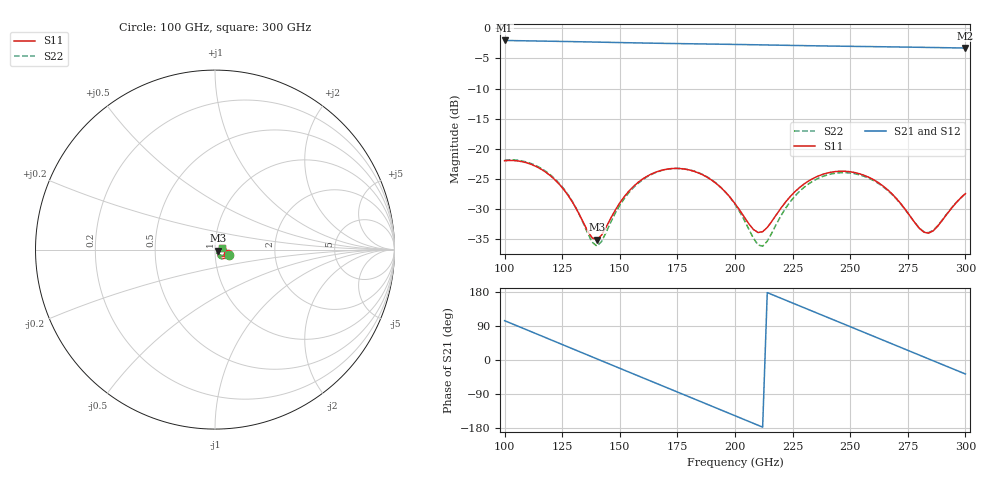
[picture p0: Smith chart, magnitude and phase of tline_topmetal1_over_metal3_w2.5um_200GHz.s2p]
#  GHZ S DB R 50
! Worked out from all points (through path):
!   101 points, 100 GHz to 300 GHz, reference 50 ohm
!   highest |S21| = -2.00 dB at 100 GHz (marker M1); lowest = -3.3 dB at 300 GHz (marker M2)
!   group delay of S21, straight-line fit = 6.95 ps
!   lowest |S11| = -35.1 dB at 140 GHz (marker M3), VSWR 1.04, Z = 51.7 - j0.585 ohm
!   |S11| at or under -10 dB: start of sweep to end of sweep
!   |S22| runs from -36.2 to -21.8 dB; largest |S21 - S12| = 1.2e-13
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100  -22.00 -18.8  -2.00 103.8  -2.00 103.8  -21.90 -20.3
108  -22.18 -33.5  -2.05 83.7  -2.05 83.7  -22.06 -35.4
116  -23.43 -47.5  -2.11 63.6  -2.11 63.6  -23.29 -50.0
126  -26.93 -60.6  -2.17 38.4  -2.17 38.4  -26.80 -64.5
134  -32.12 -55.6  -2.23 18.2  -2.23 18.2  -32.23 -62.3
140  -35.12 -18.8  -2.27 3.2  -2.27 3.2  -36.17 -24.0
154  -27.02 14.2  -2.38 -32.0  -2.38 -32.0  -27.26 14.1
168  -23.59 -6.0  -2.48 -67.0  -2.48 -67.0  -23.63 -7.5
176  -23.29 -20.1  -2.53 -87.0  -2.53 -87.0  -23.27 -22.3
184  -23.99 -33.7  -2.57 -107.0  -2.57 -107.0  -23.95 -37.0
200  -29.11 -49.9  -2.66 -147.1  -2.66 -147.1  -29.24 -58.1
208  -33.42 -31.3  -2.71 -167.1  -2.71 -167.1  -34.87 -43.1
212  -33.78 -8.9  -2.74 -177.2  -2.74 -177.2  -36.19 -13.8
224  -27.93 15.2  -2.82 152.8  -2.82 152.8  -28.79 19.3
234  -24.91 4.6  -2.89 127.9  -2.89 127.9  -25.34 7.3
242  -23.87 -8.1  -2.93 107.9  -2.93 107.9  -24.17 -6.2
250  -23.82 -21.6  -2.98 88.0  -2.98 88.0  -24.03 -20.3
258  -24.73 -34.5  -3.02 68.0  -3.02 68.0  -24.88 -33.6
268  -27.44 -46.3  -3.07 43.0  -3.07 43.0  -27.54 -45.9
280  -33.22 -33.3  -3.14 13.0  -3.14 13.0  -33.18 -33.3
284  -34.03 -13.6  -3.16 3.0  -3.16 3.0  -33.94 -14.3
300  -27.46 13.3  -3.26 -36.9  -3.26 -36.9  -27.44 11.2
